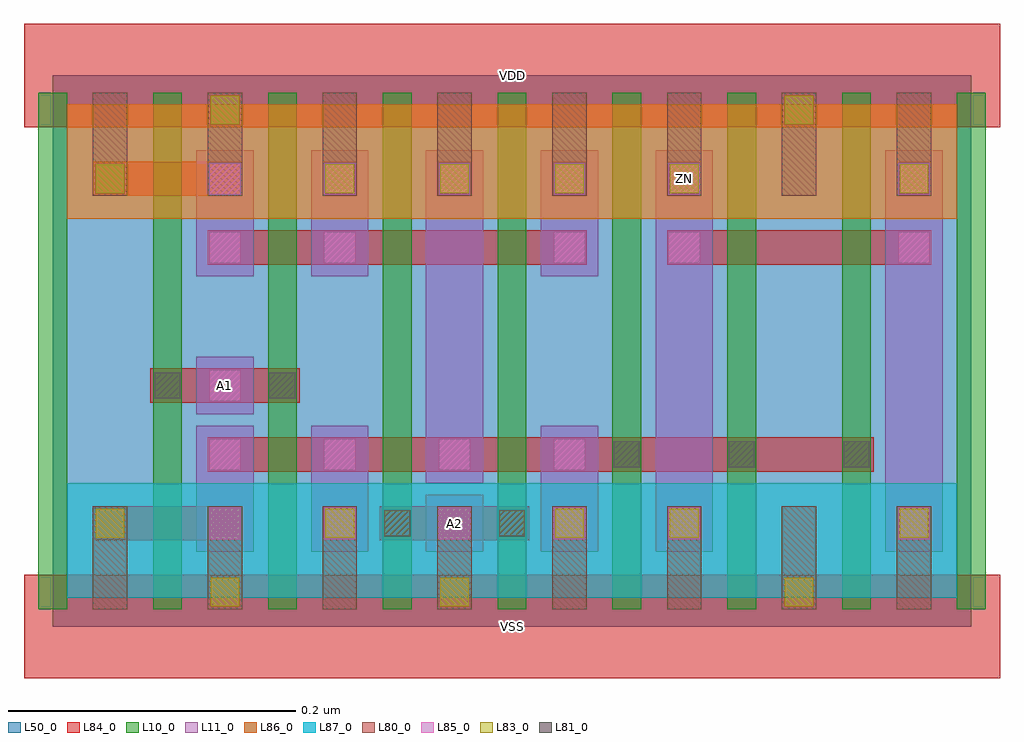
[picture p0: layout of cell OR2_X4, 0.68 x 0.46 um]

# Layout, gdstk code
import gdstk
lib = gdstk.Library(unit=1e-6, precision=1e-09)
def R(c, l, rs):  # rectangles x0, y0, x1, y1
    for r in rs: c.add(gdstk.rectangle(r[:2], r[2:], *l))
def A(c, l, x, y, w, h, nx, ny, dx, dy):  # array of equal rectangles
    R(c, l, [(x+i*dx, y+j*dy, x+i*dx+w, y+j*dy+h) for i in range(nx) for j in range(ny)])
L10_0 = (10, 0)
L11_0 = (11, 0)
L50_0 = (50, 0)
L80_0 = (80, 0)
L81_0 = (81, 0)
L83_0 = (83, 0)
L84_0 = (84, 0)
L85_0 = (85, 0)
L86_0 = (86, 0)
L87_0 = (87, 0)

or2_x4 = lib.new_cell('OR2_X4')
A(or2_x4, L10_0, -0.01, 0.012, 0.02, 0.36, 9, 1, 0.08, 0)
R(or2_x4, L11_0, [(0.1,0.052,0.14,0.14), (0.18,0.052,0.22,0.14), (0.26,0.052,0.3,0.092), (0.34,0.052,0.38,0.14), (0.42,0.052,0.46,0.332), (0.58,0.052,0.62,0.332), (0.26,0.1,0.3,0.332), (0.1,0.148,0.14,0.188), (0.1,0.244,0.14,0.332), (0.18,0.244,0.22,0.332), (0.34,0.244,0.38,0.332)])
R(or2_x4, L50_0, [(0,0,0.64,0.384)])
A(or2_x4, L80_0, 0.028, 0.012, 0.024, 0.072, 8, 2, 0.08, 0.288)
A(or2_x4, L81_0, 0.391, 0.111, 0.018, 0.018, 3, 1, 0.08, 0)
R(or2_x4, L81_0, [(0.231,0.063,0.249,0.081), (0.311,0.063,0.329,0.081), (0.071,0.159,0.089,0.177), (0.151,0.159,0.169,0.177)])
A(or2_x4, L83_0, 0.03, 0.062, 0.02, 0.02, 3, 1, 0.16, 0)
A(or2_x4, L83_0, 0.19, 0.302, 0.02, 0.02, 4, 1, 0.08, 0)
R(or2_x4, L83_0, [(0.11,0.014,0.13,0.034), (0.27,0.014,0.29,0.034), (0.51,0.014,0.53,0.034), (0.43,0.062,0.45,0.082), (0.59,0.062,0.61,0.082), (0.03,0.302,0.05,0.322), (0.59,0.302,0.61,0.322), (0.11,0.35,0.13,0.37), (0.51,0.35,0.53,0.37)])
A(or2_x4, L84_0, 0.188, 0.3, 0.024, 0.024, 4, 1, 0.08, 0)
R(or2_x4, L84_0, [(-0.02,-0.036,0.66,0.036), (0.028,0.06,0.132,0.084), (0.188,0.06,0.212,0.084), (0.228,0.06,0.332,0.084), (0.348,0.06,0.372,0.084), (0.428,0.06,0.452,0.084), (0.588,0.06,0.612,0.084), (0.108,0.108,0.572,0.132), (0.068,0.156,0.172,0.18), (0.108,0.252,0.372,0.276), (0.428,0.252,0.612,0.276), (0.028,0.3,0.132,0.324), (0.588,0.3,0.612,0.324), (-0.02,0.348,0.66,0.42)])
A(or2_x4, L85_0, 0.109, 0.061, 0.022, 0.022, 5, 2, 0.08, 0.24)
A(or2_x4, L85_0, 0.109, 0.109, 0.022, 0.022, 4, 1, 0.08, 0)
R(or2_x4, L85_0, [(0.589,0.061,0.611,0.083), (0.109,0.157,0.131,0.179), (0.109,0.253,0.131,0.275), (0.189,0.253,0.211,0.275), (0.349,0.253,0.371,0.275), (0.429,0.253,0.451,0.275), (0.589,0.253,0.611,0.275), (0.589,0.301,0.611,0.323)])
R(or2_x4, L86_0, [(0.01,0.284,0.63,0.364)])
R(or2_x4, L87_0, [(0.01,0.02,0.63,0.1)])
or2_x4.add(gdstk.Label('VDD', (0.32,0.384), layer=88, texttype=0))
or2_x4.add(gdstk.Label('VSS', (0.32,0), layer=88, texttype=0))
or2_x4.add(gdstk.Label('ZN', (0.44,0.312), layer=31, texttype=0))
or2_x4.add(gdstk.Label('A1', (0.12,0.168), layer=31, texttype=0))
or2_x4.add(gdstk.Label('A2', (0.28,0.072), layer=31, texttype=0))

lib.write_gds('OR2_X4.gds')
